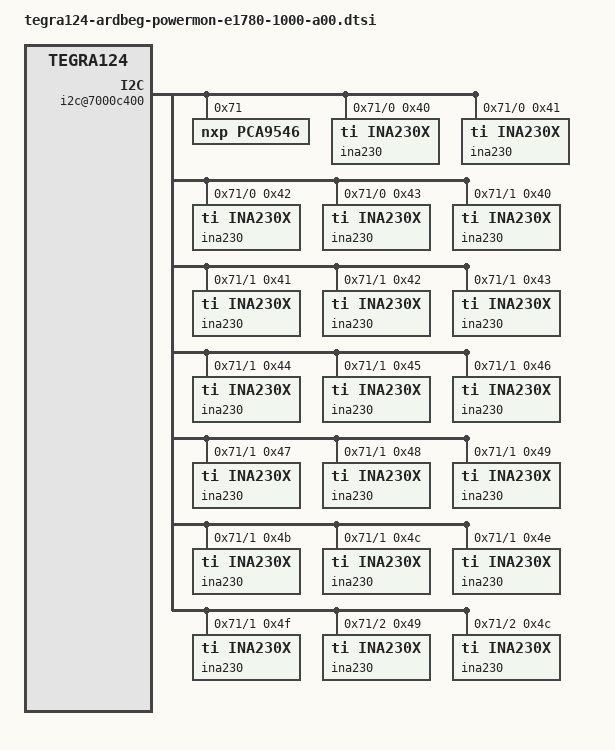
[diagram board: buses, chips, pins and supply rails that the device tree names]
/*
 * Copyright (c) 2014, NVIDIA CORPORATION.  All rights reserved.
 *
 * This program is free software; you can redistribute it and/or modify
 * it under the terms of the GNU General Public License as published by
 * the Free Software Foundation; either version 2 of the License, or
 * (at your option) any later version.
 *
 * This program is distributed in the hope that it will be useful, but WITHOUT
 * ANY WARRANTY; without even the implied warranty of MERCHANTABILITY or
 * FITNESS FOR A PARTICULAR PURPOSE.  See the GNU General Public License for
 * more details.
 *
 * You should have received a copy of the GNU General Public License along
 * with this program; if not, write to the Free Software Foundation, Inc.,
 * 51 Franklin Street, Fifth Floor, Boston, MA  02110-1301, USA.
 */
/ {
	i2c@7000c400 {
		pca9546@71 {
			compatible = "nxp,pca9546";
			reg = <0x71>;
			#address-cells = <1>;
			#size-cells = <0>;
			pca9546_i2c0: i2c@0 {
				reg = <0>;
				i2c-mux,deselect-on-exit;
				#address-cells = <1>;
				#size-cells = <0>;
				ina230@40{
					compatible = "ti,ina230x";
					reg = <0x40>;
					ti,rail-name = "__VDD_BAT";
					ti,continuous-config = <0x0407>;
					ti,trigger-config = <0x0403>;
					ti,resistor = <10>;
					ti,calibration-data = <0x1366>;
					ti,power-lsb = <2577>;
					ti,divisor = <25>;
					ti,precision-multiplier = <1000>;
				};

				ina230@41{
					compatible = "ti,ina230x";
					reg = <0x41>;
					ti,rail-name = "__VDD_SYS_BUCKCPU";
					ti,continuous-config = <0x0407>;
					ti,trigger-config = <0x0403>;
					ti,resistor = <10>;
					ti,calibration-data = <0x1AC5>;
					ti,power-lsb = <1867>;
					ti,divisor = <25>;
					ti,precision-multiplier = <1000>;
				};

				ina230@42{
					compatible = "ti,ina230x";
					reg = <0x42>;
					ti,rail-name = "__VDD_SYS_BUCKSOC";
					ti,continuous-config = <0x0407>;
					ti,trigger-config = <0x0403>;
					ti,resistor = <20>;
					ti,calibration-data = <0x2802>;
					ti,power-lsb = <624>;
					ti,divisor = <25>;
					ti,precision-multiplier = <1000>;
				};

				ina230@43{
					compatible = "ti,ina230x";
					reg = <0x43>;
					ti,rail-name = "__VDD_SYS_BUCKGPU";
					ti,continuous-config = <0x0407>;
					ti,trigger-config = <0x0403>;
					ti,resistor = <10>;
					ti,calibration-data = <0x1F38>;
					ti,power-lsb = <1601>;
					ti,divisor = <25>;
					ti,precision-multiplier = <1000>;
				};
			};

			pca9546_i2c1: i2c@1 {
				reg = <1>;
				i2c-mux,deselect-on-exit;
				#address-cells = <1>;
				#size-cells = <0>;
				ina230@40{
					compatible = "ti,ina230x";
					reg = <0x40>;
					ti,rail-name = "VDD_SYS_BAT";
					ti,continuous-config = <0x0407>;
					ti,trigger-config = <0x0403>;
					ti,calibration-data = <0x1366>;
					ti,power-lsb = <2577>;
					ti,divisor = <25>;
					ti,precision-multiplier = <1000>;
				};

				ina230@41{
					compatible = "ti,ina230x";
					reg = <0x41>;
					ti,rail-name = "VDD_RTC_LDO5";
					ti,continuous-config = <0x0407>;
					ti,trigger-config = <0x0403>;
					ti,calibration-data = <0x7FFF>;
					ti,power-lsb = <78>;
					ti,divisor = <25>;
					ti,precision-multiplier = <1000>;
				};

				ina230@42{
					compatible = "ti,ina230x";
					reg = <0x42>;
					ti,rail-name = "VDD_3V3A_SMPS1_2";
					ti,continuous-config = <0x0407>;
					ti,trigger-config = <0x0403>;
					ti,calibration-data = <0x4759>;
					ti,power-lsb = <1401>;
					ti,divisor = <25>;
					ti,precision-multiplier = <1000>;
				};

				ina230@43{
					compatible = "ti,ina230x";
					reg = <0x43>;
					ti,rail-name = "VDD_SOC_SMPS1_2";
					ti,continuous-config = <0x0407>;
					ti,trigger-config = <0x0403>;
					ti,calibration-data = <0x7FFF>;
					ti,power-lsb = <3906>;
					ti,divisor = <25>;
					ti,precision-multiplier = <1000>;
				};

				ina230@44{
					compatible = "ti,ina230x";
					reg = <0x44>;
					ti,rail-name = "VDD_SYS_BUCKCPU";
					ti,continuous-config = <0x0407>;
					ti,trigger-config = <0x0403>;
					ti,calibration-data = <0x1AC5>;
					ti,power-lsb = <1867>;
					ti,divisor = <25>;
					ti,precision-multiplier = <1000>;
				};

				ina230@45{
					compatible = "ti,ina230x";
					reg = <0x45>;
					ti,rail-name = "VDD_CPU_BUCKCPU";
					ti,continuous-config = <0x0407>;
					ti,trigger-config = <0x0403>;
					ti,calibration-data = <0x2ECF>;
					ti,power-lsb = <10681>;
					ti,divisor = <25>;
					ti,precision-multiplier = <1000>;
				};

				ina230@46{
					compatible = "ti,ina230x";
					reg = <0x46>;
					ti,rail-name = "VDD_1V8A_SMPS3";
					ti,continuous-config = <0x0407>;
					ti,trigger-config = <0x0403>;
					ti,calibration-data = <0x5BA7>;
					ti,power-lsb = <545>;
					ti,divisor = <25>;
					ti,precision-multiplier = <1000>;
				};

				ina230@47{
					compatible = "ti,ina230x";
					reg = <0x47>;
					ti,rail-name = "VDD_1V8B_SMPS9";
					ti,continuous-config = <0x0407>;
					ti,trigger-config = <0x0403>;
					ti,calibration-data = <0x50B4>;
					ti,power-lsb = <309>;
					ti,divisor = <25>;
					ti,precision-multiplier = <1000>;
				};

				ina230@48{
					compatible = "ti,ina230x";
					reg = <0x48>;
					ti,rail-name = "VDD_GPU_BUCKGPU";
					ti,continuous-config = <0x0407>;
					ti,trigger-config = <0x0403>;
					ti,calibration-data = <0x369C>;
					ti,power-lsb = <9155>;
					ti,divisor = <25>;
					ti,precision-multiplier = <1000>;
				};

				ina230@49{
					compatible = "ti,ina230x";
					reg = <0x49>;
					ti,rail-name = "VDD_1V35_SMPS6";
					ti,continuous-config = <0x0407>;
					ti,trigger-config = <0x0403>;
					ti,calibration-data = <0x7FFF>;
					ti,power-lsb = <3906>;
					ti,divisor = <25>;
					ti,precision-multiplier = <1000>;
				};

				ina230@4b{
					compatible = "ti,ina230x";
					reg = <0x4b>;
					ti,rail-name = "unused_rail";
					ti,continuous-config = <0x0407>;
					ti,trigger-config = <0x0403>;
					ti,calibration-data = <0x4759>;
					ti,power-lsb = <1401>;
					ti,divisor = <25>;
					ti,precision-multiplier = <1000>;
				};

				ina230@4c{
					compatible = "ti,ina230x";
					reg = <0x4c>;
					ti,rail-name = "VDD_3V3B_SMPS9";
					ti,continuous-config = <0x0407>;
					ti,trigger-config = <0x0403>;
					ti,calibration-data = <0x3269>;
					ti,power-lsb = <198>;
					ti,divisor = <25>;
					ti,precision-multiplier = <1000>;
				};

				ina230@4e{
					compatible = "ti,ina230x";
					reg = <0x4e>;
					ti,rail-name = "VDD_LCD_1V8B_DIS";
					ti,continuous-config = <0x0407>;
					ti,trigger-config = <0x0403>;
					ti,calibration-data = <0x7FFF>;
					ti,power-lsb = <39>;
					ti,divisor = <25>;
					ti,precision-multiplier = <1000>;
				};

				ina230@4f{
					compatible = "ti,ina230x";
					reg = <0x4f>;
					ti,rail-name = "VDD_1V05_SMPS8";
					ti,continuous-config = <0x0407>;
					ti,trigger-config = <0x0403>;
					ti,calibration-data = <0x7FFF>;
					ti,power-lsb = <130>;
					ti,divisor = <25>;
					ti,precision-multiplier = <1000>;
				};
			};

			pca9546_i2c2: i2c@2 {
				reg = <2>;
				i2c-mux,deselect-on-exit;
				#address-cells = <1>;
				#size-cells = <0>;
				ina230@49{
					compatible = "ti,ina230x";
					reg = <0x49>;
					ti,rail-name = "VDD_SYS_BL";
					ti,continuous-config = <0x0407>;
					ti,trigger-config = <0x0403>;
					ti,calibration-data = <0x1A29>;
					ti,power-lsb = <637>;
					ti,divisor = <25>;
					ti,precision-multiplier = <1000>;
				};

				ina230@4c{
					compatible = "ti,ina230x";
					reg = <0x4c>;
					ti,rail-name = "AVDD_1V05_LDO2";
					ti,continuous-config = <0x0407>;
					ti,trigger-config = <0x0403>;
					ti,calibration-data = <0x7FFF>;
					ti,power-lsb = <390>;
					ti,divisor = <25>;
					ti,precision-multiplier = <1000>;
				};
			};

			pca9546_i2c3: i2c@3 {
				reg = <3>;
				i2c-mux,deselect-on-exit;
				#address-cells = <1>;
				#size-cells = <0>;
			};
		};
	};
};
